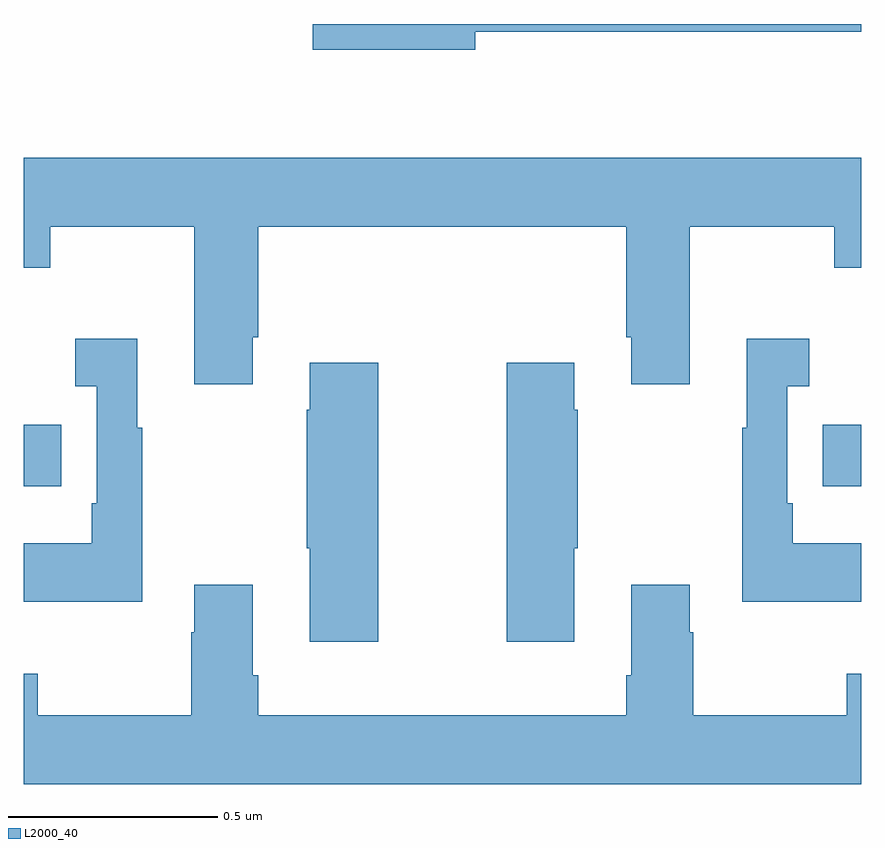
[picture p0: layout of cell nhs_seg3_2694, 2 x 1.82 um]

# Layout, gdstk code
import gdstk
lib = gdstk.Library(unit=1e-6, precision=1e-09)
def R(c, l, rs):  # rectangles x0, y0, x1, y1
    for r in rs: c.add(gdstk.rectangle(r[:2], r[2:], *l))
def P(c, l, *ps):  # polygons
    for p in ps: c.add(gdstk.Polygon(p, *l))
L2000_40 = (2000, 40)

nhs_seg3_2694 = lib.new_cell('nhs_seg3_2694')
R(nhs_seg3_2694, L2000_40, [(144,700.295,144.089,700.443), (145.909,700.295,146,700.443)])
P(nhs_seg3_2694, L2000_40, [(145.078,701.382),(146,701.382),(146,701.4),(144.69,701.4),(144.69,701.339),(145.078,701.339)],
  [(144.547,700.651),(144.56,700.651),(144.56,700.916),(145.439,700.916),(145.439,700.651),(145.451,700.651),(145.451,700.539),(145.591,700.539),(145.591,700.916),(145.936,700.916),(145.936,700.817),(146,700.817),(146,701.08),(144,701.08),(144,700.817),(144.063,700.817),(144.063,700.916),(144.407,700.916),(144.407,700.539),(144.547,700.539)],
  [(144.283,700.435),(144.271,700.435),(144.271,700.648),(144.123,700.648),(144.123,700.535),(144.174,700.535),(144.174,700.255),(144.162,700.255),(144.162,700.159),(144,700.159),(144,700.019),(144.283,700.019)],
  [(146,700.159),(145.837,700.159),(145.837,700.255),(145.824,700.255),(145.824,700.535),(145.876,700.535),(145.876,700.648),(145.727,700.648),(145.727,700.435),(145.716,700.435),(145.716,700.019),(146,700.019)],
  [(144.846,700.591),(144.683,700.591),(144.683,700.478),(144.676,700.478),(144.676,700.147),(144.683,700.147),(144.683,699.924),(144.846,699.924)],
  [(145.315,700.147),(145.323,700.147),(145.323,700.478),(145.315,700.478),(145.315,700.591),(145.153,700.591),(145.153,699.924),(145.315,699.924)],
  [(144,699.847),(144,699.584),(146,699.584),(146,699.847),(145.966,699.847),(145.966,699.748),(145.599,699.748),(145.599,699.947),(145.591,699.947),(145.591,700.06),(145.451,700.06),(145.451,699.844),(145.439,699.844),(145.439,699.748),(144.56,699.748),(144.56,699.844),(144.547,699.844),(144.547,700.06),(144.407,700.06),(144.407,699.947),(144.4,699.947),(144.4,699.748),(144.033,699.748),(144.033,699.847)])

lib.write_gds('nhs_seg3_2694.gds')
